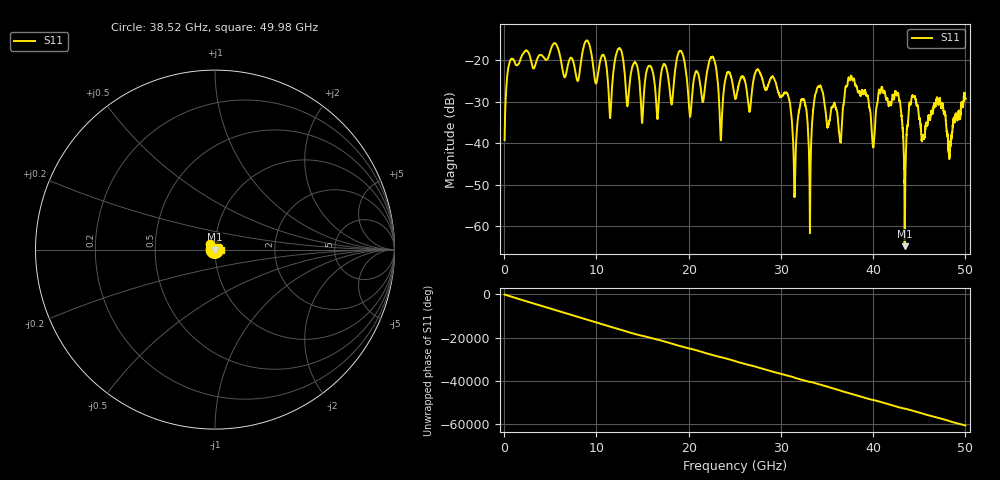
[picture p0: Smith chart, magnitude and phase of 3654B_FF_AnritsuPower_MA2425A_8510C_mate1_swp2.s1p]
!Created with skrf (http://scikit-rf.org).
# Hz S RI R 50.0
!freq ReS11 ImS11
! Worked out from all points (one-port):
!   10001 points, 45 MHz to 50 GHz, reference 50 ohm
!   lowest |S11| = -64.8 dB at 43.42 GHz (marker M1), VSWR 1.00, Z = 50 + j0.0489 ohm
!   |S11| at or under -10 dB: start of sweep to end of sweep
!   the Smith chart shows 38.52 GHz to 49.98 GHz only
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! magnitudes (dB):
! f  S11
! 45 MHz  -39.3
! 784.3 MHz  -19.7
! 6.289 GHz  -21.8
! 9.012 GHz  -15.3
! 11.5 GHz  -33.8
! 12.53 GHz  -17.1
! 14.96 GHz  -35.1
! 18.78 GHz  -19.0
! 20.15 GHz  -33.5
! 22.5 GHz  -19.2
! 23.48 GHz  -39.1
! 24.21 GHz  -23.0
! 25.02 GHz  -29.1
! 29.16 GHz  -24.0
! 31.27 GHz  -37.1
! 32.4 GHz  -29.5
! 33.17 GHz  -54.1
! 34.13 GHz  -26.3
! 36.42 GHz  -39.4
! 37.51 GHz  -24.6
! 40 GHz  -40.8
! 40.78 GHz  -27.9
! 42.6 GHz  -28.3
! 43.42 GHz  -64.8
! 43.76 GHz  -35.5
! 47.07 GHz  -30.6
! 48.3 GHz  -42.0
! 50 GHz  -29.3
